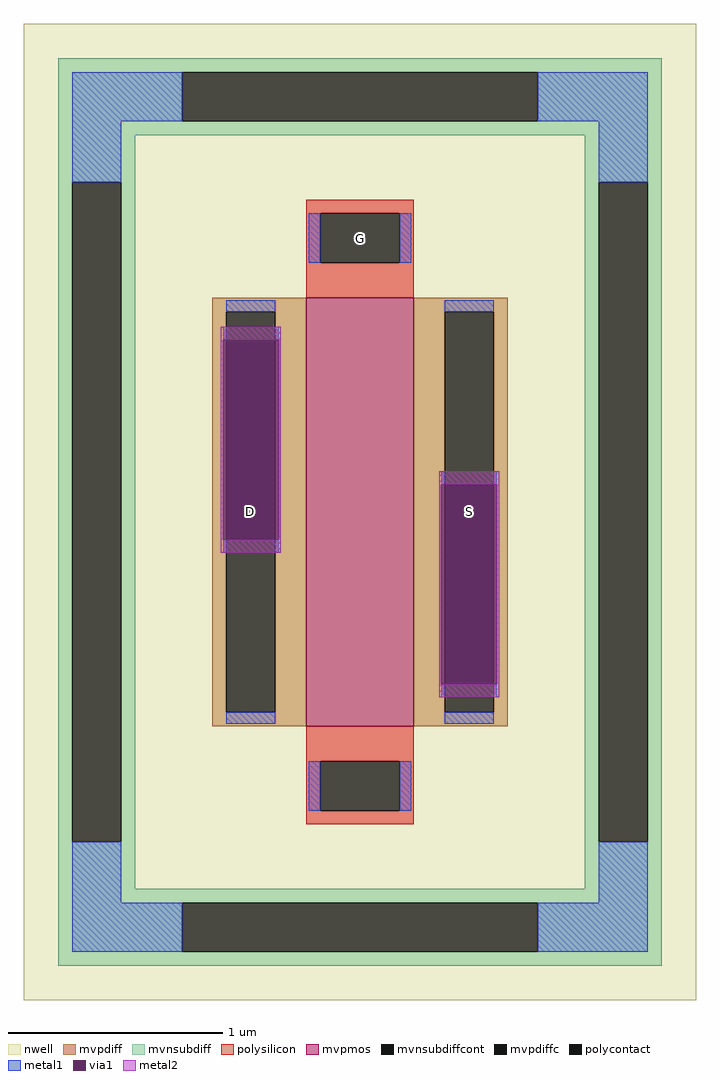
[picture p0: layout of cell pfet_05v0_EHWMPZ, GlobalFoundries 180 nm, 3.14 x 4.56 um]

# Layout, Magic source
magic
tech gf180mcuD
magscale 1 10
<< nwell >>
rect -314 -456 314 456
<< mvpmos >>
rect -50 -200 50 200
<< mvpdiff >>
rect -138 187 -50 200
rect -138 -187 -125 187
rect -79 -187 -50 187
rect -138 -200 -50 -187
rect 50 187 138 200
rect 50 -187 79 187
rect 125 -187 138 187
rect 50 -200 138 -187
<< mvpdiffc >>
rect -125 -187 -79 187
rect 79 -187 125 187
<< mvnsubdiff >>
rect -282 411 282 424
rect -282 365 -166 411
rect 166 365 282 411
rect -282 352 282 365
rect -282 308 -210 352
rect -282 -308 -269 308
rect -223 -308 -210 308
rect 210 308 282 352
rect -282 -352 -210 -308
rect 210 -308 223 308
rect 269 -308 282 308
rect 210 -352 282 -308
rect -282 -365 282 -352
rect -282 -411 -166 -365
rect 166 -411 282 -365
rect -282 -424 282 -411
<< mvnsubdiffcont >>
rect -166 365 166 411
rect -269 -308 -223 308
rect 223 -308 269 308
rect -166 -411 166 -365
<< polysilicon >>
rect -50 279 50 292
rect -50 233 -37 279
rect 37 233 50 279
rect -50 200 50 233
rect -50 -233 50 -200
rect -50 -279 -37 -233
rect 37 -279 50 -233
rect -50 -292 50 -279
<< polycontact >>
rect -37 233 37 279
rect -37 -279 37 -233
<< metal1 >>
rect -269 365 -166 411
rect 166 365 269 411
rect -269 308 -223 365
rect 223 308 269 365
rect -48 233 -37 279
rect 37 233 48 279
rect -125 187 -79 198
rect -128 161 -125 173
rect 79 187 125 198
rect -79 161 -76 173
rect -128 -38 -125 -26
rect -79 -38 -76 -26
rect 76 26 79 38
rect 125 26 128 38
rect 76 -173 79 -161
rect -125 -198 -79 -187
rect 125 -173 128 -161
rect 79 -198 125 -187
rect -48 -279 -37 -233
rect 37 -279 48 -233
rect -269 -365 -223 -308
rect 223 -365 269 -308
rect -269 -411 -166 -365
rect 166 -411 269 -365
<< via1 >>
rect -128 -26 -125 161
rect -125 -26 -79 161
rect -79 -26 -76 161
rect 76 -161 79 26
rect 79 -161 125 26
rect 125 -161 128 26
<< metal2 >>
rect -130 161 -74 173
rect -130 -26 -128 161
rect -76 -26 -74 161
rect -130 -38 -74 -26
rect 74 26 130 38
rect 74 -161 76 26
rect 128 -161 130 26
rect 74 -173 130 -161
<< labels >>
rlabel mvpdiffc -102 0 -102 0 0 D
port 1 nsew
rlabel mvpdiffc 102 0 102 0 0 S
port 2 nsew
rlabel polycontact 0 256 0 256 0 G
port 3 nsew
<< properties >>
string FIXED_BBOX -246 -388 246 388
string gencell pfet_05v0
string library gf180mcu
string parameters w 2.0 l 0.5 m 1 nf 1 diffcov 100 polycov 100 guard 1 glc 1 grc 1 gtc 1 gbc 1 tbcov 100 rlcov 100 topc 1 botc 1 poverlap 0 doverlap 1 lmin 0.5 wmin 0.3 class mosfet full_metal 1 viasrc +50 viadrn -50 viagate 0 viagb 0 viagr 0 viagl 0 viagt 0 doports 1 compatible {pfet_03v3 pfet_05v0 pfet_06v0}
<< end >>
